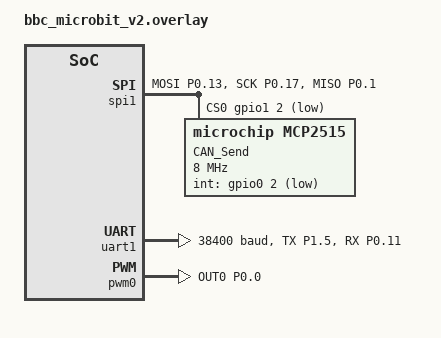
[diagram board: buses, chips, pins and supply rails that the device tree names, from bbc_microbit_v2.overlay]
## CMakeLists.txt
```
cmake_minimum_required(VERSION 3.20.0)
find_package(Zephyr REQUIRED HINTS $ENV{ZEPHYR_BASE})

project(com_controller_full)

target_sources(app PRIVATE
  src/main.c
  src/canbus.c
  src/tone.c
)
```

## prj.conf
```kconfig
# Standard I/O og debug
CONFIG_STDOUT_CONSOLE=y
CONFIG_NEWLIB_LIBC=y
CONFIG_UART_CONSOLE=y
CONFIG_UART_INTERRUPT_DRIVEN=y
CONFIG_PRINTK=y
CONFIG_CONSOLE=y

# CAN og MCP2515
CONFIG_CAN=y
CONFIG_CAN_MCP2515=y
CONFIG_SPI=y
CONFIG_GPIO=y

# Timer
CONFIG_NRFX_TIMER0=y
CONFIG_NRFX_TIMER1=y

# Ring buffer
CONFIG_RING_BUFFER=y

# PWM for tone
CONFIG_PWM=y
```

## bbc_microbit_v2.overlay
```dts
&spi1 {
	status = "okay";
	pinctrl-0 = <&spi1_default>;
	pinctrl-names = "default";
	cs-gpios = <&gpio1 2 GPIO_ACTIVE_LOW>;
	mcp2515_can: mcp2515@0 {
		compatible = "microchip,mcp2515";
        spi-max-frequency = <8000000>;
        int-gpios = <&gpio0 2 GPIO_ACTIVE_LOW>;
        status = "okay";
		label = "CAN_Send";
		reg = <0x0>;
		osc-freq = <16000000>;
		bus-speed = <125000>;
		sjw = <1>;
		prop-seg = <2>;
		phase-seg1 = <7>;
		phase-seg2 = <6>;
		#address-cells = <1>;
		#size-cells = <0>;

	};

};
&uart1 {
    current-speed = <38400>;
	status = "okay";
	pinctrl-0 = <&uart1_default>;
	pinctrl-names = "default";
    label = "UART_1";
};

&pinctrl {
	spi1_default: spi1_default {
		group1 {
			psels = <NRF_PSEL(SPIM_MOSI, 0, 13)>,
					<NRF_PSEL(SPIM_SCK, 0, 17)>,
					<NRF_PSEL(SPIM_MISO, 0, 1)>;
		};
	};
	uart1_default: uart1_default {
		group1 {
			psels = <NRF_PSEL(UART_TX, 1, 5)>, <NRF_PSEL(UART_RX, 0, 11)>;
		};
	};
};

/ {
    chosen {
        zephyr,canbus = &mcp2515_can;
    };
};

&pwm0 {
    status = "okay";
    pinctrl-0 = <&pwm0_default>;
    pinctrl-names = "default";
};

&pinctrl {
    pwm0_default: pwm0_default {
        group1 {
            psels = <NRF_PSEL(PWM_OUT0, 0, 0)>;  // F.eks. P0.00
        };
    };
};
```

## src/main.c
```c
#include <zephyr/kernel.h>     // Inkluderer Zephyr sitt kjernebibliotek for f.eks. tid og trådkontroll
#include "canbus.h"            // henter for CAN-funksjoner (canBegin, filters, callback.)
#include "tone.h"              // Henter for tone-funksjoner (init, play, stop.)

// (PROWLTECH25 - CA)

//--------------------------------------------------------------
// Hovedfunksjon – kjøres ved oppstart
//--------------------------------------------------------------
int main(void) {

    canBegin(); // Starter opp og konfigurerer CAN-bussen (mottak av meldinger)

    tone_init(); // Initialiserer tone-modulen

    // while løkke – holder programmet kjørende
    while (1) {
        k_msleep(500); // Venter i 500 ms mellom hver iterasjon
    }
    return 0;
}
```

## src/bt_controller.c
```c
#include "bt_controller.h"
#include <zephyr/sys/ring_buffer.h>
#include <zephyr/drivers/uart.h>
#include <zephyr/kernel.h>
#include <string.h>
#include <stdlib.h>
 //(FENRIS24) Commented and coded by OA

const struct device *const get_uart_dev(void){ //(FENRIS24) Fuction responsible for finding and accessing the UART/ HC-05 device
    return DEVICE_DT_GET(DT_NODELABEL(uart1)); //(FENRIS24) Returns the UART device by looking for it in the devicetree/ overlay file by label
}


static uint8_t ring_buffer_storage[RING_BUF_SIZE]; //(FENRIS24) Variable for storing the ring-buffer and its size
static struct ring_buf ringbuf; //(FENRIS24) Ring-buffer variable
static struct joystick_data last_received_data; //(FENRIS24) Last-received data variable
static bool new_data_available = false; //(FENRIS24) Variable used to represent if new data is available or not

struct joystick_data get_js_data(){ //(FENRIS24) Function that allows other parts of the program to access the received joystick data
    return last_received_data;
};

static void parse_joystick_data(char *data, struct joystick_data *joy_data) { //(FENRIS24) Function that parses/ filters out the isolated data from the uart callback function
    char *start = strchr(data, 'S'); //(FENRIS24) Searches for the first occurence of the character 'S' in the string, and the pointer 'start' will point to 'S' if found, or NULL if not
    char *end = strchr(data, 'E'); //(FENRIS24) Searches for the first occurence of the character 'E' in the string, and the pointer 'end' will point to 'E' if found, or NULL if not
    if (start && end && start < end) { //(FENRIS24) If test to check if both 'start' and 'end' are not NULL, and that 'start' is less than 'end', to make sure it comes in the right order
        *end = '\0'; //(FENRIS24) Terminate the string at the end delimiter
        joy_data->joystickId = (*(start + 1) - '0') != 0; //(FENRIS24) Extracts the character directlyn after 'S', converts it from ASCII to and integer, and checks if it is not zero, then assigns the value to the variable
        joy_data->x = atoi(start + 3); //(FENRIS24) Parses an integer staring from three characters after 'S', and thn assigning the value to the variable
        joy_data->y = atoi(strchr(start + 3, ',') + 1); //(FENRIS24) Finds the comma (',') following the X-values, parses the integer directly after the comma, and assigns the value into the Y-value variable
        new_data_available = true;  //(FENRIS24) Signal that new data is available
        last_received_data = *joy_data;  //(FENRIS24) Store the last received data
    }
}

void uart_fifo_callback(const struct device *dev, void *user_data) { //(FENRIS24) Function that reads data from UART FIFO buffer, processes it and isolates the desired data
    static char data_buffer[128]; //(FENRIS24) Buffer variable to hold incoming data
    static int data_pos = 0; //(FENRIS24) Variable for current position in buffer

    while (uart_irq_update(dev) && uart_irq_is_pending(dev)) { //(FENRIS24) While function that continues to run as long as there is available updates from the UART and there are pending interrupts
        if (uart_irq_rx_ready(dev)) { //(FENRIS24) If test to check if data is ready to be read
            uint8_t buffer[64]; //(FENRIS24) Temporary buffer to store data
            int recv_len = uart_fifo_read(dev, buffer, sizeof(buffer)); //(FENRIS24) Reads data into a temporary buffer and then returnes the number of bytes read
            if (recv_len > 0) { //(FENRIS24) If test checking if the length of the received buffer is greater than zero
                //(FENRIS24) Append data to buffer
                for (int i = 0; i < recv_len; i++) { //(FENRIS24) For-loop running as long as the position read in the buffer is less than the length of the buffer
                    if (buffer[i] == 'S') { //(FENRIS24) If test that checks for the start of a new packet
                        data_pos = 0; //(FENRIS24) Reset data position if found
                    }
                    if (data_pos < sizeof(data_buffer) - 1) { //(FENRIS24) If test that adds data to the data_buffer, while ensuring it does not overflow
                        data_buffer[data_pos++] = buffer[i];
                    }
                    if (buffer[i] == 'E') { //(FENRIS24) End of packet found, process data
                        data_buffer[data_pos] = '\0'; //(FENRIS24) Null terminate
                        parse_joystick_data(data_buffer, &last_received_data); // Call for using the function parse_joystick_data
                        data_pos = 0; //(FENRIS24) Reset for next packet
                    }
                }
            }
        }
    }
}


void process_joystick_data() { //(FENRIS24) Function that checks if there is new available data
    if (new_data_available) { //(FENRIS24) If test to check if there is new data available
        //(FENRIS24) printk("Using joystick data: ID=%d, X=%d, Y=%d\n", last_received_data.joystickId, last_received_data.x, last_received_data.y);
        new_data_available = false;  //(FENRIS24) Sets the new data variable to false, indicating that there is no new data available at this point
    }
}

void configure_uart(const struct device *dev) { //(FENRIS24) Fucntion for setting up interrupt-driven UART communication using a ring-buffer
    uart_irq_callback_set(dev, uart_fifo_callback); //(FENRIS24) Callback function that will be triggered by interrupts
    uart_irq_rx_enable(dev); //(FENRIS24) Function that enables the receive interrupt for the device, triggering the callback function when there is new data comming in
    ring_buf_init(&ringbuf, RING_BUF_SIZE, ring_buffer_storage); //(FENRIS24) Buffer used to store incoming data
}

void btBegin(){ //(FENRIS24) Function responcible for the initialization, configuration and startup of the UART/ HC-05 device
    const struct device *const uart_dev = get_uart_dev(); //(FENRIS24) Getting the UART device
    if (!device_is_ready(uart_dev)) { //(FENRIS24) If test checking if the UART device is ready or not
        printk("UART device is not ready\n");
        return;
    }

    configure_uart(uart_dev); //(FENRIS24) Calling upon the configure_uart function
    printk("Starting to receive data...\n");
}
```

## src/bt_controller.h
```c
#ifndef BT_CONTROLLER_H
#define BT_CONTROLLER_H

#include <zephyr/types.h>
#include <stdbool.h>

#define RECEIVE_ID_TONE 0x0000005

//(FENRIS24) Commented and coded by OA

#define RING_BUF_SIZE 1024 //(FENRIS24) Defining the size of the ring-buffer

struct joystick_data { //(FENRIS24) Struct that defines what the joystick-data variable contains
    bool joystickId; //(FENRIS24) True (1) for the right joystick, False (0) for the left
    int x;
    int y;
};

const struct device *const get_uart_dev(void); //(FENRIS24) Getting the UART device
struct joystick_data get_js_data(); //(FENRIS24) Struct that makes the joystick data accessible
void configure_uart(const struct device *dev); //(FENRIS24) Configures the UART
void uart_fifo_callback(const struct device *dev, void *user_data); // Callback function for reading the UART buffer
void process_joystick_data(); //(FENRIS24) Function that checks if there is new available data
void btBegin(); //(FENRIS24) Function responcible for the initialization, configuration and startup of the UART/ HC-05 device

#endif 
```

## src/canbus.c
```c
#include <zephyr/kernel.h>             // Inkluderer Zephyr sitt kjernesystem
#include <zephyr/drivers/can.h>        // Inkluderer støtte for CAN-kommunikasjon
#include <zephyr/device.h>             // For å hente tilgang til enheter
#include "canbus.h"                    // Egen header for CAN-definisjoner.
#include "tone.h"                      // Funksjoner for å spille og stoppe tone

// (PROWLTECH25 - CA)

// Variabel for å holde på sist mottatte byte fra CAN
static uint8_t received_byte;

//--------------------------------------------------------------
// Initialiserer og starter CAN-kommunikasjon - FENRIS24
//--------------------------------------------------------------
void canBegin(void) {
    const struct device *const can_dev = get_can_dev(); // Hent peker til CAN-enhet

    if (!can_dev) {
        printk("Cannot find CAN device!\n");
        return;
    }

    if (can_start(can_dev) != 0) {
        printk("Failed to start CAN controller\n");
        return;
    }

    enum can_state state;
    can_get_state(can_dev, &state, NULL);
    printk("CAN-bus status etter start: %s\n", can_state_to_str(state));

    if (setup_can_filter(can_dev, can_rx_callback, NULL) < 0) {
        printk("Failed to add CAN filters\n");
    }
}

const char* can_state_to_str(enum can_state state) {
    switch (state) {
        case CAN_STATE_ERROR_ACTIVE: return "ERROR_ACTIVE";
        case CAN_STATE_ERROR_PASSIVE: return "ERROR_PASSIVE";
        case CAN_STATE_BUS_OFF: return "BUS_OFF";
        case CAN_STATE_STOPPED: return "STOPPED";
        default: return "UNKNOWN";
    }
}


//--------------------------------------------------------------
// Returnerer peker til riktig CAN-enhet definert i device tree - FENRIS24
//--------------------------------------------------------------
const struct device *const get_can_dev(void) {
    return DEVICE_DT_GET(DT_CHOSEN(zephyr_canbus));
}

//--------------------------------------------------------------
// Returnerer siste mottatte byte (brukes av annen logikk) - FENRIS24
//--------------------------------------------------------------
uint8_t get_sensor_byte(void) {
    return received_byte;
}

//--------------------------------------------------------------
// Legger til CAN-filtre for IDene vi ønsker å ta imot - FENRIS24
//--------------------------------------------------------------
int setup_can_filter(const struct device *dev, can_rx_callback_t rx_cb, void *cb_data) {
    struct can_filter filter_byte = {
        .flags = CAN_FILTER_DATA | CAN_FILTER_IDE,
        .id = RECEIVE_ID_BYTE,
        .mask = CAN_EXT_ID_MASK
    };

    struct can_filter filter_tone = {
        .flags = CAN_FILTER_DATA | CAN_FILTER_IDE,
        .id = RECEIVE_ID_TONE,
        .mask = CAN_EXT_ID_MASK
    };

    int id_byte = can_add_rx_filter(dev, rx_cb, cb_data, &filter_byte);
    int id_tone = can_add_rx_filter(dev, rx_cb, cb_data, &filter_tone);

    return (id_byte >= 0 && id_tone >= 0) ? 0 : -1;
}


//--------------------------------------------------------------
// Callback-funksjon når CAN-melding mottas - ProwlTech25
// Denne funksjonen blir kalt automatisk når en CAN-melding mottas.
//--------------------------------------------------------------
void can_rx_callback(const struct device *dev, struct can_frame *frame, void *user_data) {
    // Skriver ut informasjon om mottatt CAN-melding (ID og datalengde)
    printk("[CAN] Mottok melding: ID=0x%X, DLC=%d\n", frame->id, frame->dlc);

    // Skriver ut hvert databyte i meldingen
    for (int i = 0; i < frame->dlc; i++) {
        printk("  Data[%d] = 0x%02X\n", i, frame->data[i]); //AI hjelp med forståelig formatering
    }

    // Sjekk om meldingen er av typen RECEIVE_ID_BYTE og har nøyaktig ett databyte
    if (frame->id == RECEIVE_ID_BYTE && frame->dlc == 1) {
        received_byte = frame->data[0];

    // Sjekk om meldingen er av typen RECEIVE_ID_TONE og har ett databyte
    } else if (frame->id == RECEIVE_ID_TONE && frame->dlc == 1) {
        uint8_t tone_value = frame->data[0];

        // Hvis tone_value er ulik 0, start tone. Ellers stopp den.
        if (tone_value) {
            printk("[CAN] → Spiller tone\n");
            play_tone(); // Aktiver tone-funksjon
        } else {
            printk("[CAN] → Stopper tone\n");
            stop_tone(); // Deaktiver tone-funksjon
        }
    } 
    
    // Uventet melding
    else {
        printk("Unexpected CAN frame: ID=0x%X, DLC=%d\n", frame->id, frame->dlc);
    }
}
```

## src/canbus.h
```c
#ifndef __CANBUS_H
#define __CANBUS_H

#include <zephyr/drivers/can.h>

#define RECEIVE_ID_BYTE 0x0000003  // Sensor node
#define RECEIVE_ID_TONE 0x0000020  // Tone kommando fra Pi

const struct device *const get_can_dev(void);
uint8_t get_sensor_byte(void);
int setup_can_filter(const struct device *dev, can_rx_callback_t rx_cb, void *cb_data);
void can_rx_callback(const struct device *dev, struct can_frame *frame, void *user_data);
void canBegin(void);
const char* can_state_to_str(enum can_state state);


#endif
```

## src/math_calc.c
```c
#include <math.h>
#include "math_calc.h"

//(FENRIS24) Funksjonen tar inn rå potmeter verdi sendt fra kontroller (0 til 1023)
struct ProjectionResult stereographic_projection_2D(int x, int y){
    //(FENRIS24) Trekker fra 512 (1023/2) fra x og y. Må finne midtpunkt og ha muligheten til å ha negative akse-verdier for å senere bruke verdier i enhetssirkel.
    int unit_x = x - 512;
    int unit_y = y - 512;

    //(FENRIS24) Finner forholdet mellom x og y verdi
    double a = (double)y / (double)x;

    //(FENRIS24) Trigonometrisk formel for å finne x i en sirkel vha forholdet mellom x og y i en firkant
    double temp_x = 1 / sqrt(1 + (a * a));

    //(FENRIS24) Finner y-verdi ved å bruke forholdet mellom x og y i en firkant, og multipliserer med ny x-verdi
    double temp_y = a * temp_x;
    
    //(FENRIS24) lager en variabel som kan holde resultatene fra funksjonen
    struct ProjectionResult result;

    //(FENRIS24) Oppdaterer variablen med resultatene utregnet i funksjonen
    result.x = (int)(temp_x * unit_x);
    result.y = (int)(temp_y * unit_y);

    //(FENRIS24) Funksjon som sjekker etter fortegnsfeil etter omforming av verdier
    if ((unit_y > 29 && result.y < 29) || (unit_y < -29 && result.y > 29)){
        result.y = (result.y * -1);
    }
    
    //(FENRIS24) Returnerer variablen
    return result;
}

//(FENRIS24) Denne funksjonen på få inn stereografisk projeksjonerte x og y verdier
int calculate_angle_degrees(int x, int y){
    //(FENRIS24) Lager variabler som lagrer x og y midlertidig
    int temp_x = x;
    int temp_y = y;

    //(FENRIS24) Funksjon for å definere dødsonen til joystick i x-retning
    if ((-40 < x) && (x < 41)){
        temp_x = 0;
    }
    //(FENRIS24) Funksjon for å definere dødsone til joystick i y-retning
    if ((-28 < y) && (y < 29)){
        temp_y = 0;
    }

    //(FENRIS24) Sikkerhetslag i tilfelle joystick-verdiene kommer utenfor maks område i negativ og positiv retning
    if (x > 512){temp_x = 512;}
    if (x < -512){temp_x = -512;}
    if (y > 512){temp_y = 512;}
    if (y < -512){temp_y = -512;}

    //(FENRIS24) Lager variabel som skal holde vinkelen målt i radianer. Variabelen settes lik resultatet av en atan2 funksjon med x og y som parametere
    double angle_radians = atan2(temp_x, temp_y);

    //(FENRIS24) Lager variabel som skal holde vinkel målt i grader. Variabelen settes lik radianer utregnet omgjort til vinkel
    double angle_degrees = ((angle_radians * 180) / 3.14159);

    //(FENRIS24) atan2 gir vinkel fra -180 til 180 grader. Denne funksjonen omgjør negativ vinkel til vinkler over 180 grader. Slik at 0-360 grader oppnåes.
    if (angle_degrees < 0){angle_degrees += 360.0;}

    //(FENRIS24) returnerer utregnet vinkel
    return (int)angle_degrees;
}

//(FENRIS24) Funksjon som regner på punkt(x,y) sin lengde fra origo. Bruker vanlig pytagoras setning h = sqrt(k1*k1 + k2*k2)
int calculate_radius(int x, int y){
    // lager variabler midlertidig for å holde verdiene.
    int temp_x = x;
    int temp_y = y;

    //(FENRIS24) Sjekk for å definere dødsone fra joystick
    if ((-40 < x) && (x < 40)){
        temp_x = 0;
    }
    if ((-40 < y) && (y < 40)){
        temp_y = 0;
    }

    //(FENRIS24) lager variabel som holder resultatet utregnet etter pytagoras sin setning
    double radius = sqrt((temp_x * temp_x) + (temp_y * temp_y));

    //(FENRIS24) Returnerer punktets lengde fra origo
    return (int)radius;
}


int scale_to_percent(int number, int max_value){
    //(FENRIS24) Lager variabel som holder det skalerte tallet etter prosentutregning.
    double scaled_number = ((double)number / (double)max_value) * 100.0;

    //(FENRIS24) Returnerer tall som beskriver hvor stort number er iforhold til max_value
    return (int)(scaled_number);
}
```

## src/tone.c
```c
#include <zephyr/kernel.h>          // Zephyr-kjernefunksjoner (for eksempel printk)
#include <zephyr/device.h>          // Generelle enhetsdrivere
#include <zephyr/drivers/pwm.h>     // PWM-driver – for å kunne generere lydsignaler
#include "tone.h"                   // Egen header-fil for tonefunksjoner (deklarasjoner)

// (PROWLTECH25 - CA)

// Definerer hvilken PWM-enhet vi bruker basert på devicetree-navn
#define SPEAKER_PWM_NODE DT_NODELABEL(pwm0) // Bruker pwm0 (fra devicetree)
// PWM-kanal vi bruker – pinne 0 på pwm0 tilsvarer channel 0
#define SPEAKER_CHANNEL 0  // P0 = channel 0 på pwm0

// Henter en peker til PWM-enheten
const struct device *pwm_dev = DEVICE_DT_GET(SPEAKER_PWM_NODE);

//--------------------------------------------------------------
// Initialiserer tone-modulen – sjekker at PWM-enheten er klar
//--------------------------------------------------------------
void tone_init(void) {
    if (!device_is_ready(pwm_dev)) {
        printk("PWM device not ready!\n");
    }
}

//--------------------------------------------------------------
// Spiller en tone ved hjelp av PWM
//-------------------------------------------------------------
void play_tone(void) {
    if (!device_is_ready(pwm_dev)) return; // Sjekk at enheten er klar

    // Sett en PWM på 750 Hz:
    pwm_set(pwm_dev, SPEAKER_CHANNEL, 1333333U, 800000U, 0);
}

//--------------------------------------------------------------
// Stopper lyden ved å sette duty cycle til 0
//--------------------------------------------------------------
void stop_tone(void) {
    if (!device_is_ready(pwm_dev)) return; // Sjekk at enheten er klar

    // Stopp tone (duty = 0)
    pwm_set(pwm_dev, SPEAKER_CHANNEL, 1000000U, 0, 0);
}
```

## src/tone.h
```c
#ifndef TONE_H
#define TONE_H

void tone_init(void);
void play_tone(void);
void stop_tone(void);

#endif
```
